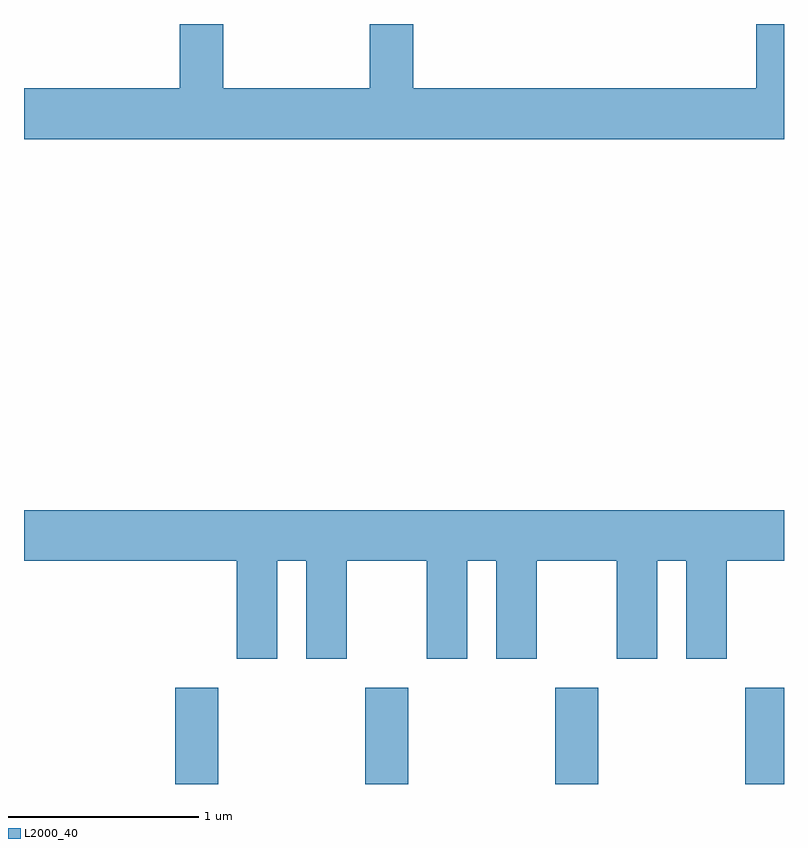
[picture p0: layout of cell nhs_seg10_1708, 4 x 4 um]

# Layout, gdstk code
import gdstk
lib = gdstk.Library(unit=1e-6, precision=1e-09)
def R(c, l, rs):  # rectangles x0, y0, x1, y1
    for r in rs: c.add(gdstk.rectangle(r[:2], r[2:], *l))
def A(c, l, x, y, w, h, nx, ny, dx, dy):  # array of equal rectangles
    R(c, l, [(x+i*dx, y+j*dy, x+i*dx+w, y+j*dy+h) for i in range(nx) for j in range(ny)])
def P(c, l, *ps):  # polygons
    for p in ps: c.add(gdstk.Polygon(p, *l))
L2000_40 = (2000, 40)

nhs_seg10_1708 = lib.new_cell('nhs_seg10_1708')
A(nhs_seg10_1708, L2000_40, 236.406, 2110.522, 0.228, 0.507, 3, 1, 1, 0)
R(nhs_seg10_1708, L2000_40, [(239.406,2110.522,239.611,2111.029)])
P(nhs_seg10_1708, L2000_40, [(239.611,2114.522),(239.466,2114.522),(239.466,2114.184),(237.659,2114.184),(237.659,2114.522),(237.431,2114.522),(237.431,2114.184),(236.659,2114.184),(236.659,2114.522),(236.431,2114.522),(236.431,2114.184),(235.611,2114.184),(235.611,2113.916),(239.611,2113.916)],
  [(236.944,2111.696),(237.096,2111.696),(237.096,2111.181),(237.309,2111.181),(237.309,2111.696),(237.731,2111.696),(237.731,2111.181),(237.944,2111.181),(237.944,2111.696),(238.096,2111.696),(238.096,2111.181),(238.309,2111.181),(238.309,2111.696),(238.731,2111.696),(238.731,2111.181),(238.944,2111.181),(238.944,2111.696),(239.096,2111.696),(239.096,2111.181),(239.309,2111.181),(239.309,2111.696),(239.611,2111.696),(239.611,2111.964),(235.611,2111.964),(235.611,2111.696),(236.731,2111.696),(236.731,2111.181),(236.944,2111.181)])

lib.write_gds('nhs_seg10_1708.gds')
